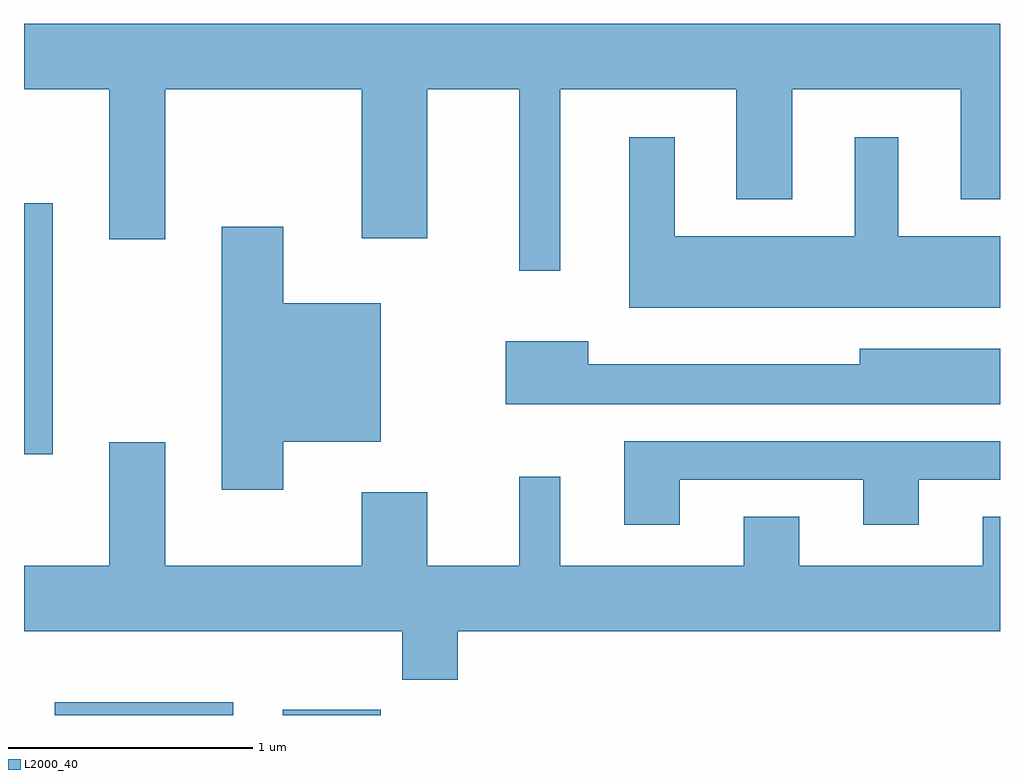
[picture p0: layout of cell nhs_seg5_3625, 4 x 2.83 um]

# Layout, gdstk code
import gdstk
lib = gdstk.Library(unit=1e-6, precision=1e-09)
def R(c, l, rs):  # rectangles x0, y0, x1, y1
    for r in rs: c.add(gdstk.rectangle(r[:2], r[2:], *l))
def P(c, l, *ps):  # polygons
    for p in ps: c.add(gdstk.Polygon(p, *l))
L2000_40 = (2000, 40)

nhs_seg5_3625 = lib.new_cell('nhs_seg5_3625')
R(nhs_seg5_3625, L2000_40, [(293.736,1392.072,294.469,1392.124), (294.671,1392.072,295.074,1392.094), (293.611,1393.141,293.729,1394.169)])
P(nhs_seg5_3625, L2000_40, [(295.809,1394.636),(296.531,1394.636),(296.531,1394.186),(296.759,1394.186),(296.759,1394.636),(297.451,1394.636),(297.451,1394.186),(297.611,1394.186),(297.611,1394.904),(293.611,1394.904),(293.611,1394.636),(293.961,1394.636),(293.961,1394.021),(294.189,1394.021),(294.189,1394.636),(294.996,1394.636),(294.996,1394.026),(295.264,1394.026),(295.264,1394.636),(295.641,1394.636),(295.641,1393.893),(295.809,1393.893)],
  [(297.611,1394.034),(297.194,1394.034),(297.194,1394.439),(297.016,1394.439),(297.016,1394.034),(296.279,1394.034),(296.279,1394.439),(296.091,1394.439),(296.091,1393.741),(297.611,1393.741)],
  [(294.674,1393.191),(295.074,1393.191),(295.074,1393.759),(294.674,1393.759),(294.674,1394.074),(294.421,1394.074),(294.421,1392.996),(294.674,1392.996)],
  [(297.611,1393.574),(297.036,1393.574),(297.036,1393.509),(295.924,1393.509),(295.924,1393.604),(295.586,1393.604),(295.586,1393.346),(297.611,1393.346)],
  [(296.299,1393.036),(297.051,1393.036),(297.051,1392.851),(297.279,1392.851),(297.279,1393.036),(297.611,1393.036),(297.611,1393.194),(296.071,1393.194),(296.071,1392.851),(296.299,1392.851)],
  [(295.161,1392.216),(295.389,1392.216),(295.389,1392.416),(297.611,1392.416),(297.611,1392.884),(297.541,1392.884),(297.541,1392.684),(296.789,1392.684),(296.789,1392.884),(296.561,1392.884),(296.561,1392.684),(295.809,1392.684),(295.809,1393.048),(295.641,1393.048),(295.641,1392.684),(295.264,1392.684),(295.264,1392.984),(294.996,1392.984),(294.996,1392.684),(294.189,1392.684),(294.189,1393.189),(293.961,1393.189),(293.961,1392.684),(293.611,1392.684),(293.611,1392.416),(295.161,1392.416)])

lib.write_gds('nhs_seg5_3625.gds')
